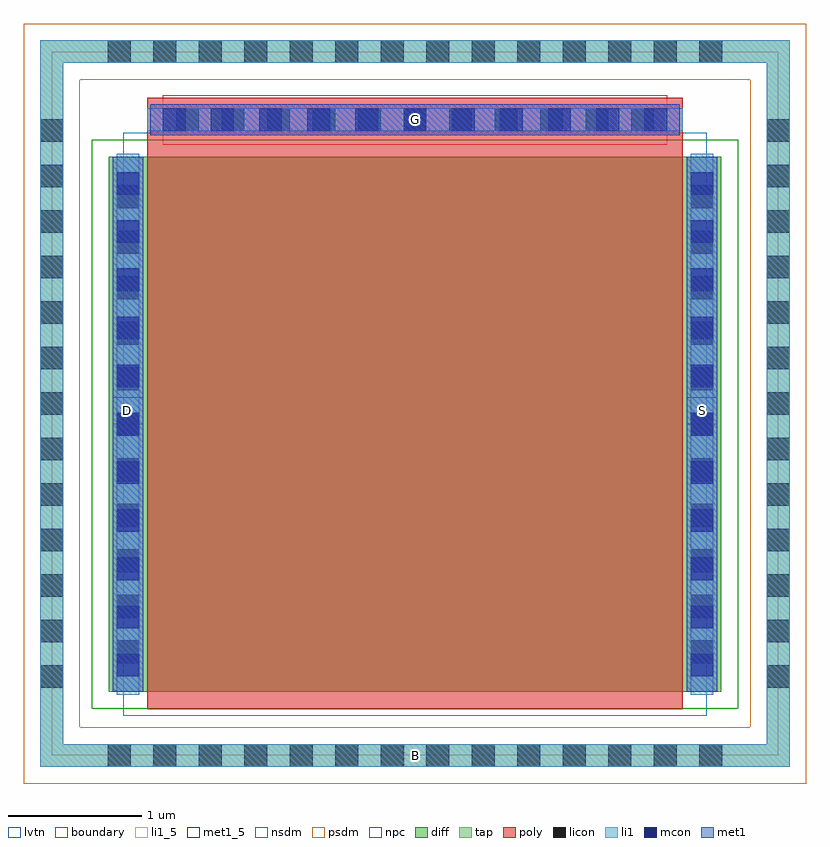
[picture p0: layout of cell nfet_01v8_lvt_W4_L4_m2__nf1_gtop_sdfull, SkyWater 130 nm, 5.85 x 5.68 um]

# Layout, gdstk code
import gdstk
lib = gdstk.Library(unit=1e-6, precision=1e-09)
def R(c, l, rs):  # rectangles x0, y0, x1, y1
    for r in rs: c.add(gdstk.rectangle(r[:2], r[2:], *l))
def A(c, l, x, y, w, h, nx, ny, dx, dy):  # array of equal rectangles
    R(c, l, [(x+i*dx, y+j*dy, x+i*dx+w, y+j*dy+h) for i in range(nx) for j in range(ny)])
diff = (65, 20)
tap = (65, 44)
poly = (66, 20)
licon = (66, 44)
li1_5 = (67, 5)
li1 = (67, 20)
mcon = (67, 44)
met1_5 = (68, 5)
met1 = (68, 20)
nsdm = (93, 44)
psdm = (94, 20)
npc = (95, 20)
lvtn = (125, 44)
boundary = (235, 4)

sky130_fd_pr__nfet_01v8_ = lib.new_cell('sky130_fd_pr__nfet_01v8_lvt_B68CHD')
R(sky130_fd_pr__nfet_01v8_, diff, [(-2.29,-2.155,2.29,1.845)])
R(sky130_fd_pr__nfet_01v8_, tap, [(-2.8,-2.715,2.8,-2.545), (-2.8,-2.545,-2.63,2.545), (2.63,-2.545,2.8,2.545), (-2.8,2.545,2.8,2.715)])
R(sky130_fd_pr__nfet_01v8_, poly, [(-2,-2.285,2,2.285)])
A(sky130_fd_pr__nfet_01v8_, licon, -2.295, -2.715, 0.17, 0.17, 14, 2, 0.34, 5.26)
A(sky130_fd_pr__nfet_01v8_, licon, -2.8, -2.125, 0.17, 0.17, 1, 13, 0, 0.34)
A(sky130_fd_pr__nfet_01v8_, licon, 2.63, -2.125, 0.17, 0.17, 1, 13, 0, 0.34)
A(sky130_fd_pr__nfet_01v8_, licon, -2.23, -1.94, 0.17, 0.17, 1, 11, 0, 0.34)
A(sky130_fd_pr__nfet_01v8_, licon, 2.06, -1.94, 0.17, 0.17, 1, 11, 0, 0.34)
A(sky130_fd_pr__nfet_01v8_, licon, -1.785, 2.035, 0.17, 0.17, 11, 1, 0.34, 0)
R(sky130_fd_pr__nfet_01v8_, li1, [(-2.8,-2.715,2.8,-2.545), (-2.8,-2.545,-2.63,2.545), (2.63,-2.545,2.8,2.545), (-2.23,-2.175,-2.06,1.865), (2.06,-2.175,2.23,1.865), (-2,2.035,2,2.205), (-2.8,2.545,2.8,2.715)])
A(sky130_fd_pr__nfet_01v8_, mcon, -2.23, -2.04, 0.17, 0.17, 1, 11, 0, 0.36)
A(sky130_fd_pr__nfet_01v8_, mcon, 2.06, -2.04, 0.17, 0.17, 1, 11, 0, 0.36)
A(sky130_fd_pr__nfet_01v8_, mcon, -1.885, 2.035, 0.17, 0.17, 11, 1, 0.36, 0)
R(sky130_fd_pr__nfet_01v8_, met1, [(-2.26,-2.155,-2.03,1.845), (2.03,-2.155,2.26,1.845), (-1.98,2.005,1.98,2.235)])
R(sky130_fd_pr__nfet_01v8_, nsdm, [(-2.415,-2.28,2.415,1.97)])
R(sky130_fd_pr__nfet_01v8_, psdm, [(-2.925,-2.84,2.925,-2.42), (-2.925,-2.42,-2.505,2.42), (2.505,-2.42,2.925,2.42), (-2.925,2.42,2.925,2.84)])
R(sky130_fd_pr__nfet_01v8_, npc, [(-1.885,1.935,1.885,2.305)])
R(sky130_fd_pr__nfet_01v8_, lvtn, [(-2.18,-2.335,2.18,2.025)])
R(sky130_fd_pr__nfet_01v8_, boundary, [(-2.715,-2.63,2.715,2.63)])
sky130_fd_pr__nfet_01v8_.add(gdstk.Label('B', (0,-2.63), layer=67, texttype=5))
sky130_fd_pr__nfet_01v8_.add(gdstk.Label('D', (-2.145,-0.155), layer=67, texttype=5))
sky130_fd_pr__nfet_01v8_.add(gdstk.Label('S', (2.145,-0.155), layer=67, texttype=5))
sky130_fd_pr__nfet_01v8_.add(gdstk.Label('G', (0,2.12), layer=67, texttype=5))

nfet_01v8_lvt_w4_l4_m2__ = lib.new_cell('nfet_01v8_lvt_W4_L4_m2__nf1_gtop_sdfull')
R(nfet_01v8_lvt_w4_l4_m2__, li1_5, [(2.63,-0.085,2.8,0.085)])
R(nfet_01v8_lvt_w4_l4_m2__, li1, [(2.63,-0.085,2.8,0.085)])
R(nfet_01v8_lvt_w4_l4_m2__, met1_5, [(0.455,2.475,0.685,2.675), (4.745,2.475,4.975,2.675), (0.735,4.635,4.695,4.865)])
R(nfet_01v8_lvt_w4_l4_m2__, met1, [(0.455,2.475,0.685,2.675), (4.745,2.475,4.975,2.675), (0.735,4.635,4.695,4.865)])
nfet_01v8_lvt_w4_l4_m2__.add(gdstk.Reference(sky130_fd_pr__nfet_01v8_, (2.715,2.63)))
nfet_01v8_lvt_w4_l4_m2__.add(gdstk.Label('D', (0.57,2.575), layer=68, texttype=5))
nfet_01v8_lvt_w4_l4_m2__.add(gdstk.Label('S', (4.86,2.575), layer=68, texttype=5))
nfet_01v8_lvt_w4_l4_m2__.add(gdstk.Label('G', (2.715,4.75), layer=68, texttype=5))
nfet_01v8_lvt_w4_l4_m2__.add(gdstk.Label('B', (2.715,0), layer=67, texttype=5))

lib.write_gds('nfet_01v8_lvt_W4_L4_m2__nf1_gtop_sdfull.gds')
